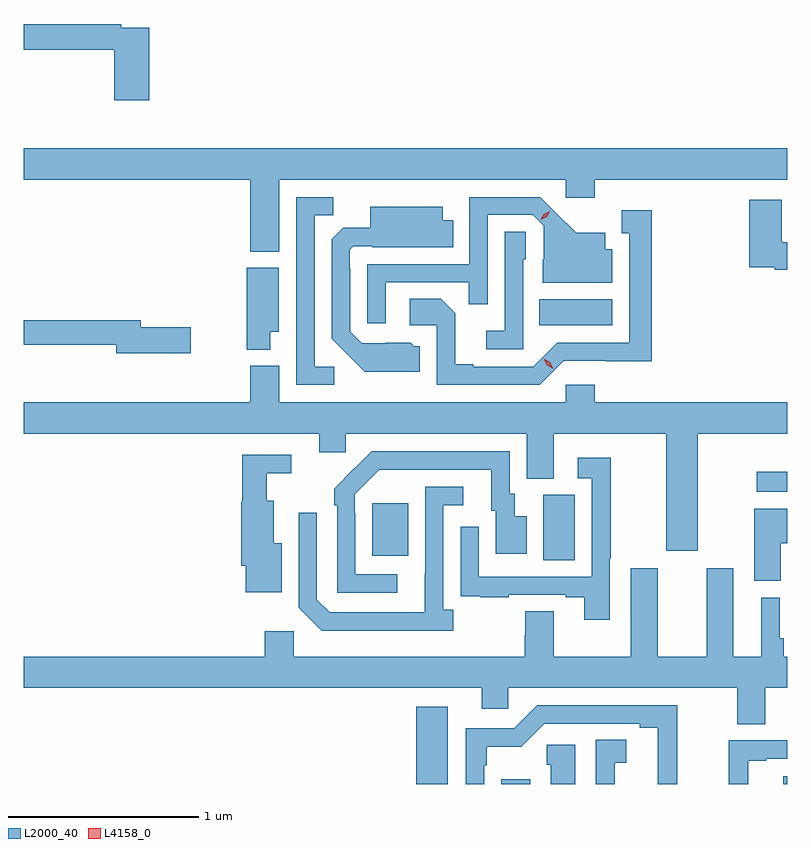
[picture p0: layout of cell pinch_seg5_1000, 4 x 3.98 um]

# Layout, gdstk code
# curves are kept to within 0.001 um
import gdstk
lib = gdstk.Library(unit=1e-6, precision=1e-09)
def R(c, l, rs):  # rectangles x0, y0, x1, y1
    for r in rs: c.add(gdstk.rectangle(r[:2], r[2:], *l))
def P(c, l, *ps):  # polygons
    for p in ps: c.add(gdstk.Polygon(p, *l))
L2000_40 = (2000, 40)
L4158_0 = (4158, 0)

pinch_seg5_1000 = lib.new_cell('pinch_seg5_1000')
R(pinch_seg5_1000, L2000_40, [(699.272,838.94,699.436,839.344), (699.716,838.94,699.868,838.966), (701.195,838.94,701.215,838.981), (699.938,840.112,700.102,840.456), (699.041,840.137,699.229,840.412), (701.055,840.473,701.215,840.577), (699.916,841.346,700.3,841.48)])
P(pinch_seg5_1000, L2000_40, [(697.871,842.904),(697.724,842.904),(697.724,842.924),(697.215,842.924),(697.215,842.788),(697.688,842.788),(697.688,842.523),(697.871,842.523)],
  [(698.554,842.108),(700.056,842.108),(700.056,842.013),(700.208,842.013),(700.208,842.108),(701.215,842.108),(701.215,842.272),(697.215,842.272),(697.215,842.108),(698.402,842.108),(698.402,841.73),(698.554,841.73)],
  [(698.842,841.128),(698.739,841.128),(698.739,841.921),(698.835,841.921),(698.835,842.016),(698.643,842.016),(698.643,841.032),(698.842,841.032)],
  [(699.111,841.569),(699.547,841.569),(699.547,841.456),(699.645,841.456),(699.645,841.923),(699.882,841.923),(699.939,841.866),(699.939,841.692),(699.935,841.692),(699.935,841.568),(700.3,841.568),(700.3,841.744),(700.261,841.744),(700.261,841.831),(700.109,841.831),(699.922,842.016),(699.549,842.016),(699.549,841.665),(699.015,841.665),(699.015,841.356),(699.111,841.356)],
  [(701.215,841.779),(701.188,841.779),(701.188,842.002),(701.018,842.002),(701.018,841.649),(701.151,841.649),(701.151,841.637),(701.215,841.637)],
  [(699.289,841.236),(699.258,841.236),(699.242,841.252),(698.985,841.251),(698.925,841.311),(698.925,841.64),(698.922,841.64),(698.922,841.74),(698.94,841.758),(699.04,841.758),(699.04,841.754),(699.464,841.754),(699.464,841.894),(699.409,841.894),(699.409,841.966),(699.029,841.966),(699.029,841.855),(698.888,841.855),(698.829,841.796),(698.829,841.274),(699.001,841.1),(699.289,841.1)],
  [(700.044,841.158),(700.507,841.157),(700.507,841.948),(700.349,841.948),(700.349,841.827),(700.388,841.827),(700.388,841.254),(700.011,841.254),(699.885,841.128),(699.571,841.128),(699.571,841.141),(699.477,841.141),(699.477,841.408),(699.401,841.484),(699.237,841.484),(699.237,841.344),(699.378,841.344),(699.378,841.032),(699.918,841.032)],
  [(699.831,841.692),(699.846,841.692),(699.846,841.835),(699.735,841.835),(699.735,841.315),(699.639,841.315),(699.639,841.218),(699.831,841.218)],
  [(698.506,841.31),(698.551,841.31),(698.551,841.645),(698.384,841.645),(698.384,841.217),(698.506,841.217)],
  [(698.089,841.334),(697.828,841.334),(697.828,841.37),(697.215,841.37),(697.215,841.242),(697.7,841.242),(697.7,841.199),(698.089,841.199)],
  [(700.747,840.776),(701.215,840.776),(701.215,840.94),(700.208,840.94),(700.208,841.033),(700.056,841.033),(700.056,840.94),(698.554,840.94),(698.554,841.132),(698.402,841.132),(698.402,840.94),(697.215,840.94),(697.215,840.776),(698.762,840.776),(698.762,840.678),(698.901,840.678),(698.901,840.776),(699.851,840.776),(699.851,840.541),(699.991,840.541),(699.991,840.776),(700.583,840.776),(700.583,840.162),(700.747,840.162)],
  [(699.172,840.039),(698.952,840.039),(698.952,840.359),(698.949,840.359),(698.949,840.459),(699.078,840.588),(699.665,840.588),(699.665,840.372),(699.689,840.372),(699.689,840.147),(699.85,840.147),(699.85,840.343),(699.787,840.343),(699.787,840.462),(699.762,840.462),(699.762,840.684),(699.038,840.684),(698.841,840.489),(698.841,840.401),(698.856,840.401),(698.856,839.943),(699.172,839.943)],
  [(698.566,840.202),(698.524,840.202),(698.524,840.424),(698.488,840.424),(698.488,840.569),(698.617,840.569),(698.617,840.666),(698.359,840.666),(698.359,840.42),(698.354,840.42),(698.354,840.084),(698.378,840.084),(698.378,839.945),(698.566,839.945)],
  [(700.287,840.124),(700.292,840.124),(700.292,840.649),(700.119,840.649),(700.119,840.543),(700.191,840.543),(700.191,840.027),(699.6,840.027),(699.6,840.289),(699.504,840.289),(699.504,840.034),(699.505,840.034),(699.505,839.925),(699.607,839.925),(699.607,839.919),(699.755,839.919),(699.755,839.931),(700.055,839.931),(700.055,839.919),(700.151,839.919),(700.151,839.802),(700.287,839.802)],
  [(699.466,839.854),(699.414,839.854),(699.414,840.402),(699.517,840.402),(699.517,840.498),(699.318,840.498),(699.317,839.841),(698.817,839.841),(698.751,839.907),(698.751,840.361),(698.655,840.361),(698.655,839.865),(698.776,839.744),(699.466,839.744)],
  [(701.182,840.203),(701.215,840.203),(701.215,840.382),(701.042,840.382),(701.042,840.006),(701.182,840.006)],
  [(700.954,839.254),(701.101,839.254),(701.101,839.444),(701.215,839.444),(701.215,839.608),(701.198,839.608),(701.198,839.704),(701.178,839.704),(701.178,839.917),(701.081,839.917),(701.081,839.608),(700.933,839.608),(700.933,840.07),(700.793,840.07),(700.793,839.608),(700.537,839.608),(700.537,840.07),(700.397,840.07),(700.397,839.608),(699.991,839.608),(699.991,839.846),(699.844,839.846),(699.844,839.721),(699.839,839.721),(699.839,839.608),(698.628,839.608),(698.628,839.74),(698.477,839.74),(698.477,839.608),(697.215,839.608),(697.215,839.444),(699.614,839.444),(699.614,839.334),(699.753,839.334),(699.753,839.444),(700.954,839.444)],
  [(699.627,839.039),(699.64,839.039),(699.64,839.135),(699.821,839.135),(699.942,839.256),(700.442,839.256),(700.442,839.236),(700.538,839.236),(700.537,838.94),(700.64,838.94),(700.64,839.352),(699.906,839.352),(699.786,839.232),(699.531,839.232),(699.531,838.94),(699.627,838.94)],
  [(700.311,839.051),(700.372,839.051),(700.372,839.171),(700.212,839.171),(700.212,838.94),(700.311,838.94)],
  [(701.012,839.061),(701.107,839.061),(701.107,839.073),(701.215,839.073),(701.215,839.169),(700.909,839.169),(700.909,838.94),(701.012,838.94)],
  [(700.105,839.146),(699.955,839.146),(699.955,839.04),(699.977,839.04),(699.977,838.94),(700.105,838.94)])
P(pinch_seg5_1000, L4158_0, [(699.989,841.118),(699.957,841.136),(699.939,841.168),(699.939,841.169),(699.94,841.169),(699.971,841.15),(699.989,841.118),(699.989,841.118)],
  [(699.924,841.898),(699.924,841.898),(699.941,841.927),(699.972,841.942),(699.972,841.942),(699.972,841.942),(699.955,841.913),(699.924,841.898)])

lib.write_gds('pinch_seg5_1000.gds')
